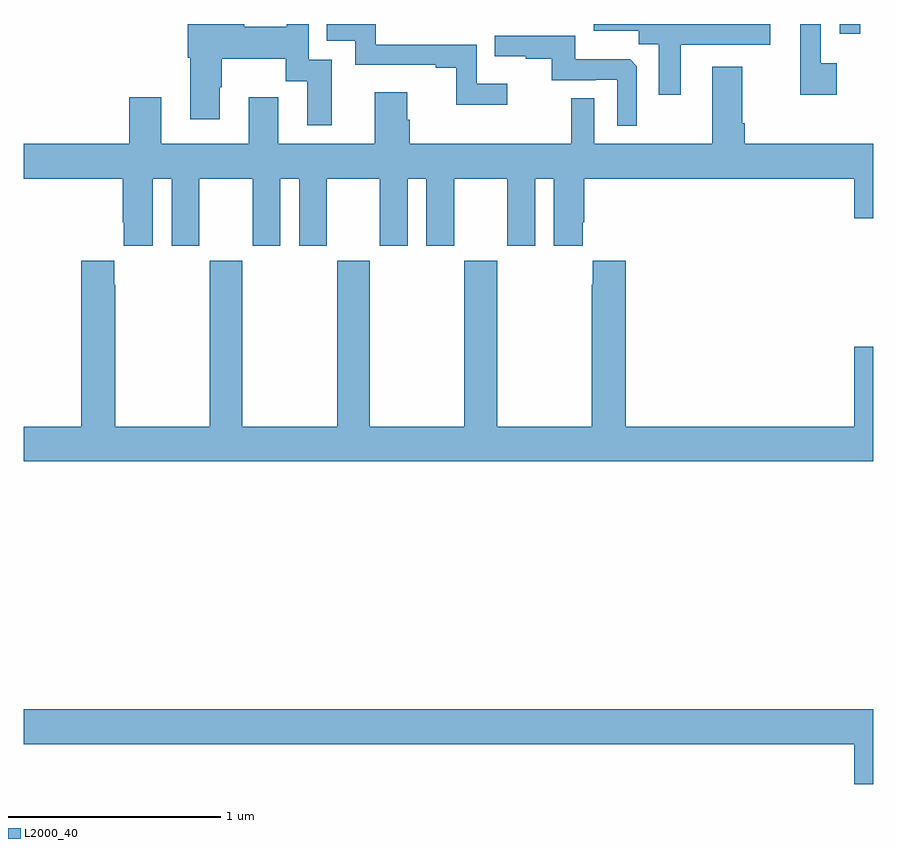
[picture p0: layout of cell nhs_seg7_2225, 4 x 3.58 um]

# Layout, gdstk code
import gdstk
lib = gdstk.Library(unit=1e-6, precision=1e-09)
def R(c, l, rs):  # rectangles x0, y0, x1, y1
    for r in rs: c.add(gdstk.rectangle(r[:2], r[2:], *l))
def P(c, l, *ps):  # polygons
    for p in ps: c.add(gdstk.Polygon(p, *l))
L2000_40 = (2000, 40)

nhs_seg7_2225 = lib.new_cell('nhs_seg7_2225')
R(nhs_seg7_2225, L2000_40, [(260.844,1011.954,260.94,1012)])
P(nhs_seg7_2225, L2000_40, [(260.83,1011.814),(260.754,1011.814),(260.754,1012),(260.657,1012),(260.657,1011.666),(260.83,1011.666)],
  [(259.276,1011.718),(259.134,1011.718),(259.134,1011.903),(258.657,1011.903),(258.657,1012),(258.427,1012),(258.427,1011.921),(258.561,1011.921),(258.561,1011.807),(258.941,1011.807),(258.941,1011.795),(259.036,1011.795),(259.036,1011.62),(259.276,1011.62)],
  [(258.451,1011.831),(258.342,1011.831),(258.342,1012),(258.239,1012),(258.239,1011.988),(258.037,1011.988),(258.037,1012),(257.771,1012),(257.771,1011.84),(257.783,1011.84),(257.783,1011.552),(257.923,1011.552),(257.923,1011.702),(257.931,1011.702),(257.931,1011.836),(258.234,1011.836),(258.234,1011.73),(258.335,1011.73),(258.335,1011.522),(258.451,1011.522)],
  [(260.095,1011.902),(260.515,1011.902),(260.515,1012),(259.685,1012),(259.685,1011.968),(259.896,1011.968),(259.896,1011.904),(259.991,1011.904),(259.991,1011.666),(260.095,1011.666)],
  [(259.887,1011.801),(259.855,1011.833),(259.597,1011.833),(259.597,1011.945),(259.219,1011.945),(259.219,1011.848),(259.363,1011.848),(259.363,1011.837),(259.487,1011.837),(259.487,1011.735),(259.694,1011.735),(259.694,1011.738),(259.794,1011.738),(259.794,1011.521),(259.887,1011.521)],
  [(258.818,1011.549),(258.805,1011.549),(258.805,1011.679),(258.653,1011.679),(258.653,1011.436),(258.199,1011.436),(258.199,1011.655),(258.059,1011.655),(258.059,1011.436),(257.647,1011.436),(257.647,1011.655),(257.495,1011.655),(257.495,1011.436),(257,1011.436),(257,1011.272),(257.465,1011.272),(257.465,1011.067),(257.471,1011.067),(257.471,1010.955),(257.608,1010.955),(257.608,1011.272),(257.696,1011.272),(257.696,1010.955),(257.827,1010.955),(257.827,1011.272),(258.077,1011.272),(258.077,1010.955),(258.208,1010.955),(258.208,1011.272),(258.296,1011.272),(258.296,1010.955),(258.427,1010.955),(258.427,1011.272),(258.677,1011.272),(258.677,1010.955),(258.808,1010.955),(258.808,1011.272),(258.896,1011.272),(258.896,1010.955),(259.027,1010.955),(259.027,1011.272),(259.277,1011.272),(259.277,1010.955),(259.408,1010.955),(259.408,1011.272),(259.496,1011.272),(259.496,1010.955),(259.633,1010.955),(259.633,1011.067),(259.64,1011.067),(259.64,1011.272),(260.912,1011.272),(260.912,1011.084),(261,1011.084),(261,1011.436),(260.396,1011.436),(260.396,1011.532),(260.383,1011.532),(260.383,1011.799),(260.243,1011.799),(260.243,1011.436),(259.686,1011.436),(259.686,1011.65),(259.578,1011.65),(259.578,1011.436),(258.818,1011.436)],
  [(261,1010.479),(260.912,1010.479),(260.912,1010.104),(259.835,1010.104),(259.835,1010.884),(259.679,1010.884),(259.679,1010.771),(259.675,1010.771),(259.675,1010.104),(259.23,1010.104),(259.23,1010.884),(259.075,1010.884),(259.075,1010.104),(258.63,1010.104),(258.63,1010.884),(258.475,1010.884),(258.475,1010.104),(258.029,1010.104),(258.029,1010.884),(257.875,1010.884),(257.875,1010.104),(257.43,1010.104),(257.43,1010.771),(257.425,1010.771),(257.425,1010.884),(257.27,1010.884),(257.27,1010.104),(257,1010.104),(257,1009.94),(261,1009.94)],
  [(261,1008.772),(257,1008.772),(257,1008.608),(260.912,1008.608),(260.912,1008.42),(261,1008.42)])

lib.write_gds('nhs_seg7_2225.gds')
